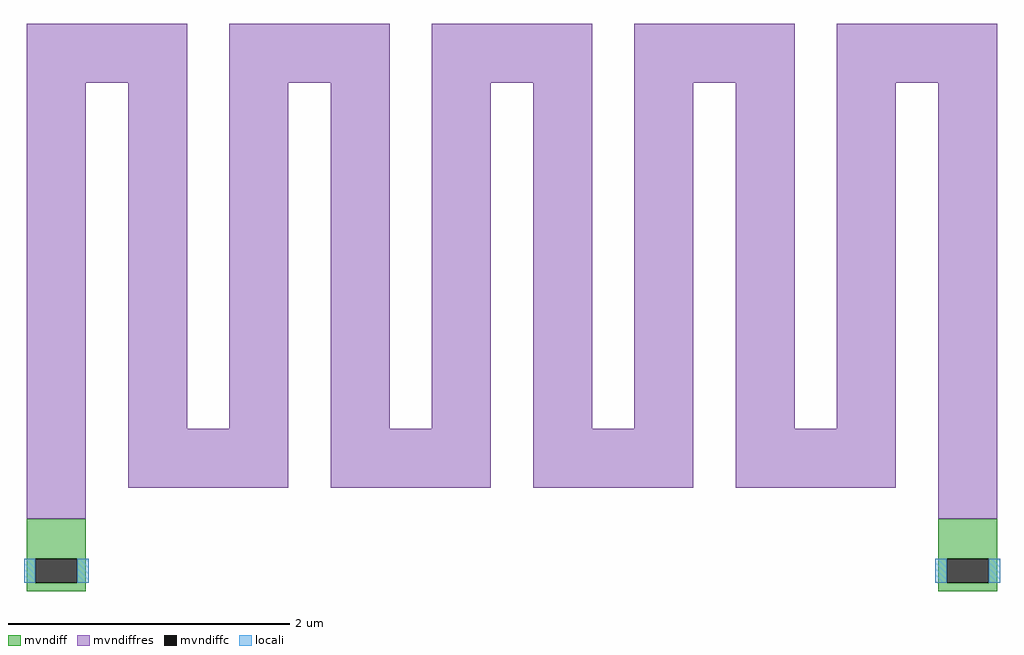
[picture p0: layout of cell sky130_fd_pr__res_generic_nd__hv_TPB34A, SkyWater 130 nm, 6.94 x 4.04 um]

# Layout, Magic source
magic
tech sky130A
magscale 1 2
<< mvndiff >>
rect -690 -357 -606 -300
rect -690 -391 -678 -357
rect -618 -391 -606 -357
rect -690 -403 -606 -391
rect 606 -357 690 -300
rect 606 -391 618 -357
rect 678 -391 690 -357
rect 606 -403 690 -391
<< mvndiffc >>
rect -678 -391 -618 -357
rect 618 -391 678 -357
<< mvndiffres >>
rect -690 320 -462 404
rect -690 -300 -606 320
rect -546 -172 -462 320
rect -402 320 -174 404
rect -402 -172 -318 320
rect -546 -256 -318 -172
rect -258 -172 -174 320
rect -114 320 114 404
rect -114 -172 -30 320
rect -258 -256 -30 -172
rect 30 -172 114 320
rect 174 320 402 404
rect 174 -172 258 320
rect 30 -256 258 -172
rect 318 -172 402 320
rect 462 320 690 404
rect 462 -172 546 320
rect 318 -256 546 -172
rect 606 -300 690 320
<< locali >>
rect -694 -391 -678 -357
rect -618 -391 -602 -357
rect 602 -391 618 -357
rect 678 -391 694 -357
<< properties >>
string gencell sky130_fd_pr__res_generic_nd__hv
string library sky130
string parameters w 0.42 l 3.3 m 1 nx 10 wmin 0.42 lmin 2.10 rho 120 val 12.06k dummy 0 dw 0.02 term 0.0 sterm 0.0 caplen 0.4 snake 1 guard 0 glc 1 grc 1 gtc 1 gbc 1 roverlap 0 endcov 100 full_metal 0 vias 1 viagb 0 viagt 0 viagl 0 viagr 0
<< end >>
